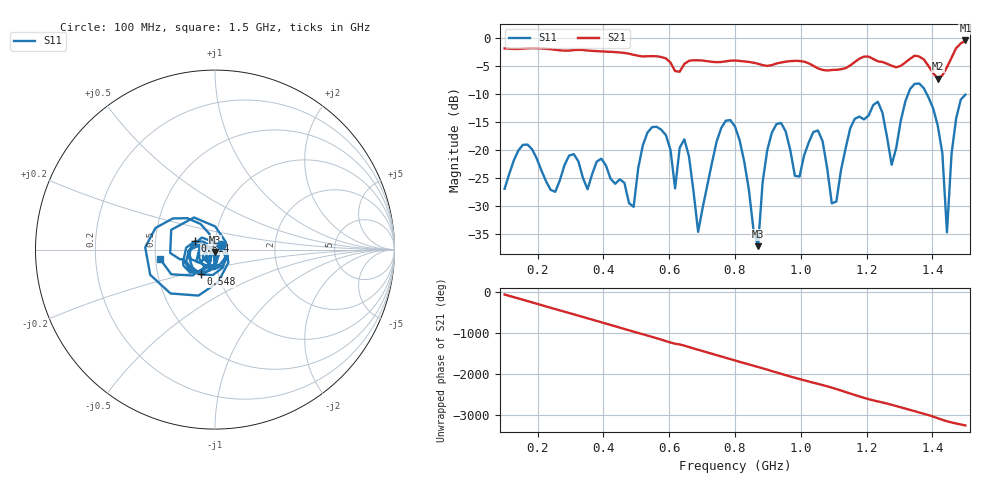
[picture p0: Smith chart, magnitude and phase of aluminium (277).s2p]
! NanoVNA-App
! Date: 2025-09-25 14:57:26
! Start: 100MHz Stop: 1,5GHz Points: 101
! S-Parameter data: F S11 S21 S12 S22
# Hz S RI R 50
!  Frequency  S11_Real  S11_Imag  S21_Real  S21_Imag  S12_Real  S12_Imag  S22_Real  S22_Imag
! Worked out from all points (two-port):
!   101 points, 100 MHz to 1.5 GHz, reference 50 ohm
!   highest |S21| = -0.51 dB at 1.5 GHz (marker M1); lowest = -7.3 dB at 1.416 GHz (marker M2)
!   |S21| within 3 dB of the highest: start of sweep to 578.6 MHz; 1.459 GHz to end of sweep (the widest 2 of 4)
!   lowest |S11| = -37.2 dB at 870 MHz (marker M3), VSWR 1.03, Z = 49.9 - j1.38 ohm
!   |S11| at or under -10 dB: start of sweep to 1.327 GHz; 1.382 GHz to end of sweep
!   S12 and S22 are empty: the file has one direction only
!   S11 on the Smith chart (normalised r, x): 100 MHz: 1.07, +0.06; 548 MHz: 0.82, -0.23; 814 MHz: 0.79, +0.07; 1.5 GHz: 0.53, -0.06
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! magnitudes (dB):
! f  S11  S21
! 100 MHz  -27.0  -1.9
! 338 MHz  -25.0  -2.2
! 492 MHz  -30.2  -3.1
! 548 MHz  -16.0  -3.3
! 576 MHz  -16.4  -3.5
! 618 MHz  -26.9  -6.0
! 646 MHz  -18.1  -4.7
! 688 MHz  -34.6  -4.1
! 800 MHz  -15.9  -4.1
! 814 MHz  -18.3  -4.2
! 870 MHz  -37.2  -4.7
! 912 MHz  -17.0  -4.9
! 996 MHz  -24.8  -4.2
! 1.038 GHz  -16.8  -5.0
! 1.094 GHz  -29.5  -5.8
! 1.234 GHz  -11.4  -4.2
! 1.276 GHz  -22.7  -5.0
! 1.346 GHz  -8.2  -3.2
! 1.416 GHz  -15.7  -7.3
! 1.444 GHz  -34.7  -5.3
! 1.472 GHz  -14.4  -1.9
! 1.5 GHz  -10.2  -0.5
